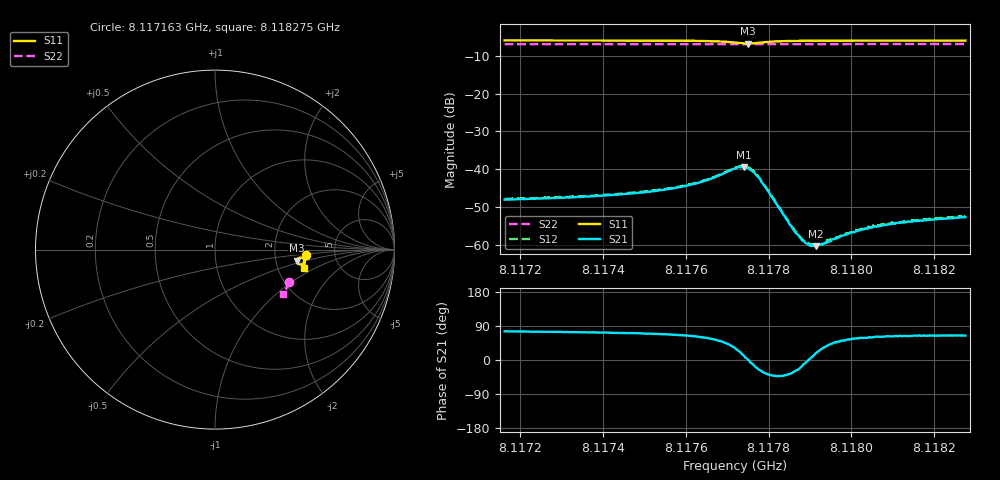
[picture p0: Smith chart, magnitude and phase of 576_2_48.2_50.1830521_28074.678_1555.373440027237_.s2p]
#  HZ  S  RI  R  50.00
! Rohde & Schwarz Vector Network Analyzer
! Rohde-Schwarz,ZNB20-2Port,1311601062101988,3.16
! Created: UTC 3/20/2024, 12:01:54 PM
! freq[Hz]  re:S11  im:S11  re:S21  im:S21  re:S12  im:S12  re:S22  im:S22
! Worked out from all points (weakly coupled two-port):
!   401 points, 8.117163 GHz to 8.118275 GHz, reference 50 ohm
!   highest |S21| = -39.38 dB at 8.117741 GHz (marker M1); lowest = -60.4 dB at 8.117914 GHz (marker M2)
!   lowest |S11| = -6.7 dB at 8.11775 GHz (marker M3), VSWR 2.71, Z = 132 - j20.6 ohm
!   |S11| at or under -10 dB: nowhere
!   |S22| runs from -6.9 to -6.8 dB; largest |S21 - S12| = 0.0005
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8.1171628e9  0.506 -0.0279  0.000987 0.00382  0.00105 0.0039  0.4149 -0.1792
8.1173491e9  0.5044 -0.0434  0.00127 0.00412  0.00128 0.00418  0.4101 -0.1914
8.1175354e9  0.5007 -0.061  0.00191 0.00489  0.00199 0.00498  0.4046 -0.2034
8.1176244e9  0.4956 -0.0722  0.00302 0.00574  0.00314 0.00581  0.4018 -0.2094
8.1176661e9  0.4894 -0.0789  0.0044 0.00627  0.00455 0.00638  0.4002 -0.212
8.117719e9  0.4683 -0.0815  0.00872 0.00527  0.00888 0.00539  0.3977 -0.215
8.1177412e9  0.4576 -0.0689  0.0106 0.00195  0.0107 0.00195  0.3967 -0.2156
8.1177495e9  0.457 -0.0615  0.0104 0.000293  0.0106 0.000123  0.3964 -0.2158
8.1177662e9  0.4635 -0.049  0.00862 -0.00244  0.00871 -0.00265  0.3965 -0.2163
8.1177801e9  0.4726 -0.0443  0.00646 -0.00339  0.0065 -0.00345  0.3965 -0.217
8.1178552e9  0.4961 -0.0572  0.00145 -0.00101  0.00143 -0.00102  0.3951 -0.2223
8.1178691e9  0.4973 -0.0598  0.00124 -0.000618  0.00125 -0.000675  0.3947 -0.2234
8.1178858e9  0.4982 -0.0627  0.00109 -0.000191  0.0011 -0.000239  0.3943 -0.2245
8.1179053e9  0.4987 -0.0657  0.000952 0.00014  0.00101 0.000123  0.3938 -0.2257
8.1179136e9  0.4987 -0.0669  0.000912 0.000293  0.000969 0.000278  0.3935 -0.2263
8.1179331e9  0.4991 -0.0697  0.000856 0.000564  0.000889 0.000579  0.3928 -0.2274
8.117947e9  0.4991 -0.0714  0.000844 0.000736  0.000887 0.000704  0.3923 -0.2285
8.1180081e9  0.4988 -0.0783  0.000815 0.00124  0.000896 0.00127  0.3902 -0.2322
8.1180582e9  0.4985 -0.0832  0.000833 0.00155  0.000903 0.00158  0.3885 -0.2354
8.1180916e9  0.4981 -0.0863  0.00085 0.00165  0.000892 0.00167  0.3875 -0.2374
8.1181472e9  0.4975 -0.0911  0.000905 0.00181  0.000965 0.00188  0.3854 -0.2408
8.1182751e9  0.4954 -0.1018  0.00101 0.00209  0.00104 0.00215  0.3809 -0.2488
